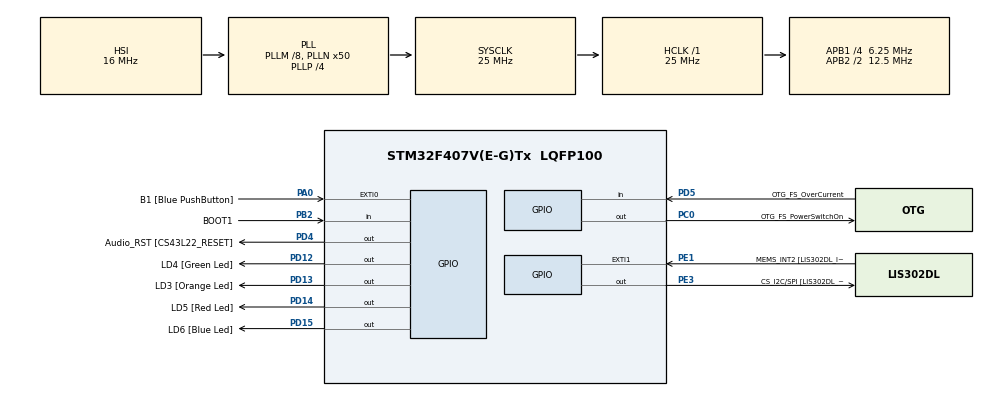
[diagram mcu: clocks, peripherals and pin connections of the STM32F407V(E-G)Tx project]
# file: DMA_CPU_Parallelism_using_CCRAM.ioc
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ADC1.Channel-0\#ChannelRegularConversion=ADC_CHANNEL_TEMPSENSOR
ADC1.NbrOfConversionFlag=1
ADC1.Rank-0\#ChannelRegularConversion=1
ADC1.SamplingTime-0\#ChannelRegularConversion=ADC_SAMPLETIME_3CYCLES
ADC1.master=1
Dma.ADC1.0.Direction=DMA_PERIPH_TO_MEMORY
Dma.ADC1.0.FIFOMode=DMA_FIFOMODE_DISABLE
Dma.ADC1.0.Instance=DMA2_Stream0
Dma.ADC1.0.MemDataAlignment=DMA_MDATAALIGN_HALFWORD
Dma.ADC1.0.MemInc=DMA_MINC_ENABLE
Dma.ADC1.0.Mode=DMA_CIRCULAR
Dma.ADC1.0.PeriphDataAlignment=DMA_PDATAALIGN_HALFWORD
Dma.ADC1.0.PeriphInc=DMA_PINC_DISABLE
Dma.ADC1.0.Priority=DMA_PRIORITY_LOW
Dma.Request0=ADC1
Mcu.Family=STM32F4
Mcu.Name=STM32F407V(E-G)Tx
Mcu.Package=LQFP100
NVIC.DMA2_Stream0_IRQn=true\:0\:0\:false\:false\:true\:false\:true\:true
NVIC.PriorityGroup=NVIC_PRIORITYGROUP_0
PA0-WKUP.GPIO_Label=B1 [Blue PushButton]
PA0-WKUP.Signal=GPXTI0
PA10.GPIO_Label=OTG_FS_ID
PA10.GPIO_Mode=GPIO_MODE_AF_PP
PA10.GPIO_PuPd=GPIO_NOPULL
PA10.GPIO_Speed=GPIO_SPEED_FREQ_LOW
PA10.Signal=USB_OTG_FS_ID
PA11.GPIO_Label=OTG_FS_DM
PA11.GPIO_Mode=GPIO_MODE_AF_PP
PA11.GPIO_PuPd=GPIO_NOPULL
PA11.GPIO_Speed=GPIO_SPEED_FREQ_LOW
PA11.Signal=USB_OTG_FS_DM
PA12.GPIO_Label=OTG_FS_DP
PA12.GPIO_Mode=GPIO_MODE_AF_PP
PA12.GPIO_PuPd=GPIO_NOPULL
PA12.GPIO_Speed=GPIO_SPEED_FREQ_LOW
PA12.Signal=USB_OTG_FS_DP
PA13.GPIO_Label=SWDIO
PA13.Signal=SYS_JTMS-SWDIO
PA14.GPIO_Label=SWCLK
PA14.Signal=SYS_JTCK-SWCLK
PA4.GPIO_Label=I2S3_WS [CS43L22_LRCK]
PA4.GPIO_Mode=GPIO_MODE_AF_PP
PA4.GPIO_PuPd=GPIO_NOPULL
PA4.GPIO_Speed=GPIO_SPEED_FREQ_LOW
PA4.Signal=I2S3_WS
PA5.GPIO_Label=SPI1_SCK [LIS302DL_SCL/SPC]
PA5.GPIO_Mode=GPIO_MODE_AF_PP
PA5.GPIO_PuPd=GPIO_NOPULL
PA5.GPIO_Speed=GPIO_SPEED_FREQ_LOW
PA5.Signal=SPI1_SCK
PA6.GPIO_Label=SPI1_MISO [LIS302DL_SDO]
PA6.GPIO_Mode=GPIO_MODE_AF_PP
PA6.GPIO_PuPd=GPIO_NOPULL
PA6.GPIO_Speed=GPIO_SPEED_FREQ_LOW
PA6.Signal=SPI1_MISO
PA7.GPIO_Label=SPI1_MOSI [LIS302DL_SDA/SDI/SDO]
PA7.GPIO_Mode=GPIO_MODE_AF_PP
PA7.GPIO_PuPd=GPIO_NOPULL
PA7.GPIO_Speed=GPIO_SPEED_FREQ_LOW
PA7.Signal=SPI1_MOSI
PA9.GPIO_Label=VBUS_FS
PA9.GPIO_Mode=GPIO_MODE_INPUT
PA9.GPIO_PuPd=GPIO_NOPULL
PA9.Signal=USB_OTG_FS_VBUS
PB10.GPIO_Label=CLK_IN [MP45DT02_CLK]
PB10.GPIO_Mode=GPIO_MODE_AF_PP
PB10.GPIO_PuPd=GPIO_NOPULL
PB10.GPIO_Speed=GPIO_SPEED_FREQ_LOW
PB10.Signal=I2S2_CK
PB2.GPIO_Label=BOOT1
PB2.GPIO_Mode=GPIO_MODE_INPUT
PB2.GPIO_PuPd=GPIO_NOPULL
PB2.Signal=GPIO_Input
PB3.GPIO_Label=SWO
PB3.Signal=SYS_JTDO-SWO
PB6.GPIO_Label=Audio_SCL [CS43L22_SCL]
PB6.GPIO_Mode=GPIO_MODE_AF_OD
PB6.GPIO_PuPd=GPIO_NOPULL
PB6.GPIO_Speed=GPIO_SPEED_FREQ_LOW
PB6.Signal=I2C1_SCL
PB9.GPIO_Label=Audio_SDA [CS43L22_SDA]
PB9.GPIO_Mode=GPIO_MODE_AF_OD
PB9.GPIO_PuPd=GPIO_NOPULL
PB9.GPIO_Speed=GPIO_SPEED_FREQ_LOW
PB9.Signal=I2C1_SDA
PC0.GPIO_Label=OTG_FS_PowerSwitchOn
PC0.GPIO_PuPd=GPIO_NOPULL
PC0.GPIO_Speed=GPIO_SPEED_FREQ_LOW
PC0.PinState=GPIO_PIN_SET
PC0.Signal=GPIO_Output
PC10.GPIO_Label=I2S3_SCK [CS43L22_SCLK]
PC10.GPIO_Mode=GPIO_MODE_AF_PP
PC10.GPIO_PuPd=GPIO_NOPULL
PC10.GPIO_Speed=GPIO_SPEED_FREQ_LOW
PC10.Signal=I2S3_CK
PC12.GPIO_Label=I2S3_SD [CS43L22_SDIN]
PC12.GPIO_Mode=GPIO_MODE_AF_PP
PC12.GPIO_PuPd=GPIO_NOPULL
PC12.GPIO_Speed=GPIO_SPEED_FREQ_LOW
PC12.Signal=I2S3_SD
PC14-OSC32_IN.GPIO_Label=PC14-OSC32_IN
PC14-OSC32_IN.Signal=RCC_OSC32_IN
PC15-OSC32_OUT.GPIO_Label=PC15-OSC32_OUT
PC15-OSC32_OUT.Signal=RCC_OSC32_OUT
PC3.GPIO_Label=PDM_OUT [MP45DT02_DOUT]
PC3.GPIO_Mode=GPIO_MODE_AF_PP
PC3.GPIO_PuPd=GPIO_NOPULL
PC3.GPIO_Speed=GPIO_SPEED_FREQ_LOW
PC3.Signal=I2S2_SD
PC7.GPIO_Label=I2S3_MCK [CS43L22_MCLK]
PC7.GPIO_Mode=GPIO_MODE_AF_PP
PC7.GPIO_PuPd=GPIO_NOPULL
PC7.GPIO_Speed=GPIO_SPEED_FREQ_LOW
PC7.Signal=I2S3_MCK
PD12.GPIO_Label=LD4 [Green Led]
PD12.GPIO_PuPd=GPIO_NOPULL
PD12.GPIO_Speed=GPIO_SPEED_FREQ_LOW
PD12.Signal=GPIO_Output
PD13.GPIO_Label=LD3 [Orange Led]
PD13.GPIO_PuPd=GPIO_NOPULL
PD13.GPIO_Speed=GPIO_SPEED_FREQ_LOW
PD13.Signal=GPIO_Output
PD14.GPIO_Label=LD5 [Red Led]
PD14.GPIO_PuPd=GPIO_NOPULL
PD14.GPIO_Speed=GPIO_SPEED_FREQ_LOW
PD14.Signal=GPIO_Output
PD15.GPIO_Label=LD6 [Blue Led]
PD15.GPIO_PuPd=GPIO_NOPULL
PD15.GPIO_Speed=GPIO_SPEED_FREQ_LOW
PD15.Signal=GPIO_Output
PD4.GPIO_Label=Audio_RST [CS43L22_RESET]
PD4.GPIO_PuPd=GPIO_NOPULL
PD4.GPIO_Speed=GPIO_SPEED_FREQ_LOW
PD4.Signal=GPIO_Output
PD5.GPIO_Label=OTG_FS_OverCurrent
PD5.GPIO_Mode=GPIO_MODE_INPUT
PD5.GPIO_PuPd=GPIO_NOPULL
PD5.Signal=GPIO_Input
PE1.GPIO_Label=MEMS_INT2 [LIS302DL_INT2]
PE1.GPIO_ModeDefaultEXTI=GPIO_MODE_EVT_RISING
PE1.GPIO_PuPd=GPIO_NOPULL
PE1.Signal=GPXTI1
PE3.GPIO_Label=CS_I2C/SPI [LIS302DL_CS_I2C/SPI]
PE3.GPIO_PuPd=GPIO_NOPULL
PE3.GPIO_Speed=GPIO_SPEED_FREQ_LOW
PE3.Signal=GPIO_Output
PH0-OSC_IN.GPIO_Label=PH0-OSC_IN
PH0-OSC_IN.Signal=RCC_OSC_IN
PH1-OSC_OUT.GPIO_Label=PH1-OSC_OUT
PH1-OSC_OUT.Signal=RCC_OSC_OUT
ProjectManager.HeapSize=0x200
ProjectManager.StackSize=0x400
ProjectManager.TargetToolchain=STM32CubeIDE
RCC.48MHZClocksFreq_Value=14285714.285714285
RCC.AHBFreq_Value=25000000
RCC.APB1CLKDivider=RCC_HCLK_DIV4
RCC.APB1Freq_Value=6250000
RCC.APB1TimFreq_Value=12500000
RCC.APB2CLKDivider=RCC_HCLK_DIV2
RCC.APB2Freq_Value=12500000
RCC.APB2TimFreq_Value=25000000
RCC.CortexFreq_Value=25000000
RCC.HCLKFreq_Value=25000000
RCC.HSE_VALUE=8000000
RCC.HSI_VALUE=16000000
RCC.LSE_VALUE=32768
RCC.PLLM=8
RCC.PLLN=50
RCC.PLLP=RCC_PLLP_DIV4
RCC.PLLQ=7
RCC.SYSCLKFreq_VALUE=25000000
RCC.SYSCLKSource=RCC_SYSCLKSOURCE_PLLCLK
RCC.VCOOutputFreq_Value=100000000
VP_ADC1_TempSens_Input.Mode=IN-TempSens
board=STM32F407G-DISC1

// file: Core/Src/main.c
/* USER CODE BEGIN Header */
/**
  ******************************************************************************
  * @file           : main.c
  * @brief          : Main program body
  ******************************************************************************
  * @attention
  *
  * Copyright (c) 2026 STMicroelectronics.
  * All rights reserved.
  *
  * This software is licensed under terms that can be found in the LICENSE file
  * in the root directory of this software component.
  * If no LICENSE file comes with this software, it is provided AS-IS.
  *
  ******************************************************************************
  */
/* USER CODE END Header */
#include "main.h"

/* USER CODE BEGIN Includes */
#include <stdio.h>
/* USER CODE END Includes */

/* USER CODE BEGIN PM */
#define ADC_BUFFER_SIZE 64
/* USER CODE END PM */

ADC_HandleTypeDef hadc1;
DMA_HandleTypeDef hdma_adc1;

/* USER CODE BEGIN PV */
__attribute__((section(".fast_data"))) uint32_t cpu_array[1024] = {0};
uint16_t adc_buffer[ADC_BUFFER_SIZE];
_Bool ConversionCompleted = 0;
/* USER CODE END PV */

void SystemClock_Config(void);
static void MX_GPIO_Init(void);
static void MX_DMA_Init(void);
static void MX_ADC1_Init(void);

/* USER CODE BEGIN 0 */
/* Initialize function for inbuilt Temperature sensor present at  */
void ADC_TempSensor_Init(){
	/* Select 1 Channel selection in Sequence Register */
	ADC1->SQR3 &= ~(ADC_SQR3_SQ1);
	ADC1->SQR3 |= (16<<0);

	/* only one channel is used */
	ADC1->SQR1 &= ~(ADC_SQR1_L);

	/* Sampling rate is 111 i.e. 480 cycles */
	ADC1->SMPR1 &= ~ADC_SMPR1_SMP16;
	ADC1->SMPR1 |= (ADC_SMPR1_SMP16_0 | ADC_SMPR1_SMP16_1 | ADC_SMPR1_SMP16_2);

	/* Enable Temperature sensor */
	ADC123_COMMON->CCR |= ADC_CCR_TSVREFE;

	/* Enable ADC */
	ADC1->CR2 |= ADC_CR2_ADON;

	// Continuous mode
	ADC1->CR2 |= ADC_CR2_CONT;

	// Start conversion
	ADC1->CR2 |= ADC_CR2_SWSTART;
}

/* Reset Before New conversion */
void reset_adc1_before_new_conversion(void){
	/* Reset STRT, Overrun and AnalogWatchdog bit 4th, 5th and 0th bit of SR register */
	ADC1->SR &= ~(ADC_SR_STRT | ADC_SR_OVR | ADC_SR_AWD);
}

/* Start DMA */
void DMA_start(void){
	HAL_ADC_Start_DMA(&hadc1, (uint32_t*)adc_buffer, ADC_BUFFER_SIZE);
}

void HAL_ADC_ConvCpltCallback(ADC_HandleTypeDef* hadc)
{
    if(hadc->Instance == ADC1)
    	ConversionCompleted = 1;
}
/* USER CODE END 0 */

int main(void)
{

  /* USER CODE BEGIN 1 */
  static uint8_t LoopNum = 0;
  /* USER CODE END 1 */

  /* MCU Configuration--------------------------------------------------------*/

  /* Reset of all peripherals, Initializes the Flash interface and the Systick. */
  HAL_Init();

  /* Configure the system clock */
  SystemClock_Config();

  /* Initialize all configured peripherals */
  MX_GPIO_Init();
  MX_DMA_Init();
  MX_ADC1_Init();

  /* Infinite loop */
  while (1)
  {

    /* USER CODE BEGIN 3 */
	for (int i = 0; i < 1024; i++) {
		cpu_array[i] = i + LoopNum;
	  	printf("%ld\t", cpu_array[i]);
	}
	LoopNum++;

	if(ConversionCompleted){
		for (int i = 0; i < 1024; i++) {
			printf("%d\t", adc_buffer[i]);
		}
	}
  }
  /* USER CODE END 3 */
}

void SystemClock_Config(void)
{
  RCC_OscInitTypeDef RCC_OscInitStruct = {0};
  RCC_ClkInitTypeDef RCC_ClkInitStruct = {0};

  /** Configure the main internal regulator output voltage
  */
  __HAL_RCC_PWR_CLK_ENABLE();
  __HAL_PWR_VOLTAGESCALING_CONFIG(PWR_REGULATOR_VOLTAGE_SCALE1);

  /** Initializes the RCC Oscillators according to the specified parameters
  * in the RCC_OscInitTypeDef structure.
  */
  RCC_OscInitStruct.OscillatorType = RCC_OSCILLATORTYPE_HSI;
  RCC_OscInitStruct.HSIState = RCC_HSI_ON;
  RCC_OscInitStruct.HSICalibrationValue = RCC_HSICALIBRATION_DEFAULT;
  RCC_OscInitStruct.PLL.PLLState = RCC_PLL_ON;
  RCC_OscInitStruct.PLL.PLLSource = RCC_PLLSOURCE_HSI;
  RCC_OscInitStruct.PLL.PLLM = 8;
  RCC_OscInitStruct.PLL.PLLN = 50;
  RCC_OscInitStruct.PLL.PLLP = RCC_PLLP_DIV4;
  RCC_OscInitStruct.PLL.PLLQ = 7;
  if (HAL_RCC_OscConfig(&RCC_OscInitStruct) != HAL_OK)
  {
    Error_Handler();
  }

  /** Initializes the CPU, AHB and APB buses clocks
  */
  RCC_ClkInitStruct.ClockType = RCC_CLOCKTYPE_HCLK|RCC_CLOCKTYPE_SYSCLK
                              |RCC_CLOCKTYPE_PCLK1|RCC_CLOCKTYPE_PCLK2;
  RCC_ClkInitStruct.SYSCLKSource = RCC_SYSCLKSOURCE_PLLCLK;
  RCC_ClkInitStruct.AHBCLKDivider = RCC_SYSCLK_DIV1;
  RCC_ClkInitStruct.APB1CLKDivider = RCC_HCLK_DIV4;
  RCC_ClkInitStruct.APB2CLKDivider = RCC_HCLK_DIV2;

  if (HAL_RCC_ClockConfig(&RCC_ClkInitStruct, FLASH_LATENCY_0) != HAL_OK)
  {
    Error_Handler();
  }
}

static void MX_ADC1_Init(void)
{

  ADC_ChannelConfTypeDef sConfig = {0};

  /** Configure the global features of the ADC (Clock, Resolution, Data Alignment and number of conversion)
  */
  hadc1.Instance = ADC1;
  hadc1.Init.ClockPrescaler = ADC_CLOCK_SYNC_PCLK_DIV2;
  hadc1.Init.Resolution = ADC_RESOLUTION_12B;
  hadc1.Init.ScanConvMode = DISABLE;
  hadc1.Init.ContinuousConvMode = DISABLE;
  hadc1.Init.DiscontinuousConvMode = DISABLE;
  hadc1.Init.ExternalTrigConvEdge = ADC_EXTERNALTRIGCONVEDGE_NONE;
  hadc1.Init.ExternalTrigConv = ADC_SOFTWARE_START;
  hadc1.Init.DataAlign = ADC_DATAALIGN_RIGHT;
  hadc1.Init.NbrOfConversion = 1;
  hadc1.Init.DMAContinuousRequests = DISABLE;
  hadc1.Init.EOCSelection = ADC_EOC_SINGLE_CONV;
  if (HAL_ADC_Init(&hadc1) != HAL_OK)
  {
    Error_Handler();
  }

  /** Configure for the selected ADC regular channel its corresponding rank in the sequencer and its sample time.
  */
  sConfig.Channel = ADC_CHANNEL_TEMPSENSOR;
  sConfig.Rank = 1;
  sConfig.SamplingTime = ADC_SAMPLETIME_3CYCLES;
  if (HAL_ADC_ConfigChannel(&hadc1, &sConfig) != HAL_OK)
  {
    Error_Handler();
  }

}

static void MX_DMA_Init(void)
{

  /* DMA controller clock enable */
  __HAL_RCC_DMA2_CLK_ENABLE();

  /* DMA interrupt init */
  /* DMA2_Stream0_IRQn interrupt configuration */
  HAL_NVIC_SetPriority(DMA2_Stream0_IRQn, 0, 0);
  HAL_NVIC_EnableIRQ(DMA2_Stream0_IRQn);

}

static void MX_GPIO_Init(void)
{
  GPIO_InitTypeDef GPIO_InitStruct = {0};

  /* GPIO Ports Clock Enable */
  __HAL_RCC_GPIOE_CLK_ENABLE();
  __HAL_RCC_GPIOC_CLK_ENABLE();
  __HAL_RCC_GPIOH_CLK_ENABLE();
  __HAL_RCC_GPIOA_CLK_ENABLE();
  __HAL_RCC_GPIOB_CLK_ENABLE();
  __HAL_RCC_GPIOD_CLK_ENABLE();

  /*Configure GPIO pin Output Level */
  HAL_GPIO_WritePin(CS_I2C_SPI_GPIO_Port, CS_I2C_SPI_Pin, GPIO_PIN_RESET);

  /*Configure GPIO pin Output Level */
  HAL_GPIO_WritePin(OTG_FS_PowerSwitchOn_GPIO_Port, OTG_FS_PowerSwitchOn_Pin, GPIO_PIN_SET);

  /*Configure GPIO pin Output Level */
  HAL_GPIO_WritePin(GPIOD, LD4_Pin|LD3_Pin|LD5_Pin|LD6_Pin
                          |Audio_RST_Pin, GPIO_PIN_RESET);

  /*Configure GPIO pin : CS_I2C_SPI_Pin */
  GPIO_InitStruct.Pin = CS_I2C_SPI_Pin;
  GPIO_InitStruct.Mode = GPIO_MODE_OUTPUT_PP;
  GPIO_InitStruct.Pull = GPIO_NOPULL;
  GPIO_InitStruct.Speed = GPIO_SPEED_FREQ_LOW;
  HAL_GPIO_Init(CS_I2C_SPI_GPIO_Port, &GPIO_InitStruct);

  /*Configure GPIO pin : OTG_FS_PowerSwitchOn_Pin */
  GPIO_InitStruct.Pin = OTG_FS_PowerSwitchOn_Pin;
  GPIO_InitStruct.Mode = GPIO_MODE_OUTPUT_PP;
  GPIO_InitStruct.Pull = GPIO_NOPULL;
  GPIO_InitStruct.Speed = GPIO_SPEED_FREQ_LOW;
  HAL_GPIO_Init(OTG_FS_PowerSwitchOn_GPIO_Port, &GPIO_InitStruct);

  /*Configure GPIO pin : PDM_OUT_Pin */
  GPIO_InitStruct.Pin = PDM_OUT_Pin;
  GPIO_InitStruct.Mode = GPIO_MODE_AF_PP;
  GPIO_InitStruct.Pull = GPIO_NOPULL;
  GPIO_InitStruct.Speed = GPIO_SPEED_FREQ_LOW;
  GPIO_InitStruct.Alternate = GPIO_AF5_SPI2;
  HAL_GPIO_Init(PDM_OUT_GPIO_Port, &GPIO_InitStruct);

  /*Configure GPIO pin : B1_Pin */
  GPIO_InitStruct.Pin = B1_Pin;
  GPIO_InitStruct.Mode = GPIO_MODE_IT_RISING;
  GPIO_InitStruct.Pull = GPIO_NOPULL;
  HAL_GPIO_Init(B1_GPIO_Port, &GPIO_InitStruct);

  /*Configure GPIO pin : I2S3_WS_Pin */
  GPIO_InitStruct.Pin = I2S3_WS_Pin;
  GPIO_InitStruct.Mode = GPIO_MODE_AF_PP;
  GPIO_InitStruct.Pull = GPIO_NOPULL;
  GPIO_InitStruct.Speed = GPIO_SPEED_FREQ_LOW;
  GPIO_InitStruct.Alternate = GPIO_AF6_SPI3;
  HAL_GPIO_Init(I2S3_WS_GPIO_Port, &GPIO_InitStruct);

  /*Configure GPIO pins : SPI1_SCK_Pin SPI1_MISO_Pin SPI1_MOSI_Pin */
  GPIO_InitStruct.Pin = SPI1_SCK_Pin|SPI1_MISO_Pin|SPI1_MOSI_Pin;
  GPIO_InitStruct.Mode = GPIO_MODE_AF_PP;
  GPIO_InitStruct.Pull = GPIO_NOPULL;
  GPIO_InitStruct.Speed = GPIO_SPEED_FREQ_LOW;
  GPIO_InitStruct.Alternate = GPIO_AF5_SPI1;
  HAL_GPIO_Init(GPIOA, &GPIO_InitStruct);

  /*Configure GPIO pin : BOOT1_Pin */
  GPIO_InitStruct.Pin = BOOT1_Pin;
  GPIO_InitStruct.Mode = GPIO_MODE_INPUT;
  GPIO_InitStruct.Pull = GPIO_NOPULL;
  HAL_GPIO_Init(BOOT1_GPIO_Port, &GPIO_InitStruct);

  /*Configure GPIO pin : CLK_IN_Pin */
  GPIO_InitStruct.Pin = CLK_IN_Pin;
  GPIO_InitStruct.Mode = GPIO_MODE_AF_PP;
  GPIO_InitStruct.Pull = GPIO_NOPULL;
  GPIO_InitStruct.Speed = GPIO_SPEED_FREQ_LOW;
  GPIO_InitStruct.Alternate = GPIO_AF5_SPI2;
  HAL_GPIO_Init(CLK_IN_GPIO_Port, &GPIO_InitStruct);

  /*Configure GPIO pins : LD4_Pin LD3_Pin LD5_Pin LD6_Pin
                           Audio_RST_Pin */
  GPIO_InitStruct.Pin = LD4_Pin|LD3_Pin|LD5_Pin|LD6_Pin
                          |Audio_RST_Pin;
  GPIO_InitStruct.Mode = GPIO_MODE_OUTPUT_PP;
  GPIO_InitStruct.Pull = GPIO_NOPULL;
  GPIO_InitStruct.Speed = GPIO_SPEED_FREQ_LOW;
  HAL_GPIO_Init(GPIOD, &GPIO_InitStruct);

  /*Configure GPIO pins : I2S3_MCK_Pin I2S3_SCK_Pin I2S3_SD_Pin */
  GPIO_InitStruct.Pin = I2S3_MCK_Pin|I2S3_SCK_Pin|I2S3_SD_Pin;
  GPIO_InitStruct.Mode = GPIO_MODE_AF_PP;
  GPIO_InitStruct.Pull = GPIO_NOPULL;
  GPIO_InitStruct.Speed = GPIO_SPEED_FREQ_LOW;
  GPIO_InitStruct.Alternate = GPIO_AF6_SPI3;
  HAL_GPIO_Init(GPIOC, &GPIO_InitStruct);

  /*Configure GPIO pin : VBUS_FS_Pin */
  GPIO_InitStruct.Pin = VBUS_FS_Pin;
  GPIO_InitStruct.Mode = GPIO_MODE_INPUT;
  GPIO_InitStruct.Pull = GPIO_NOPULL;
  HAL_GPIO_Init(VBUS_FS_GPIO_Port, &GPIO_InitStruct);

  /*Configure GPIO pins : OTG_FS_ID_Pin OTG_FS_DM_Pin OTG_FS_DP_Pin */
  GPIO_InitStruct.Pin = OTG_FS_ID_Pin|OTG_FS_DM_Pin|OTG_FS_DP_Pin;
  GPIO_InitStruct.Mode = GPIO_MODE_AF_PP;
  GPIO_InitStruct.Pull = GPIO_NOPULL;
  GPIO_InitStruct.Speed = GPIO_SPEED_FREQ_LOW;
  GPIO_InitStruct.Alternate = GPIO_AF10_OTG_FS;
  HAL_GPIO_Init(GPIOA, &GPIO_InitStruct);

  /*Configure GPIO pin : OTG_FS_OverCurrent_Pin */
  GPIO_InitStruct.Pin = OTG_FS_OverCurrent_Pin;
  GPIO_InitStruct.Mode = GPIO_MODE_INPUT;
  GPIO_InitStruct.Pull = GPIO_NOPULL;
  HAL_GPIO_Init(OTG_FS_OverCurrent_GPIO_Port, &GPIO_InitStruct);

  /*Configure GPIO pins : Audio_SCL_Pin Audio_SDA_Pin */
  GPIO_InitStruct.Pin = Audio_SCL_Pin|Audio_SDA_Pin;
  GPIO_InitStruct.Mode = GPIO_MODE_AF_OD;
  GPIO_InitStruct.Pull = GPIO_NOPULL;
  GPIO_InitStruct.Speed = GPIO_SPEED_FREQ_LOW;
  GPIO_InitStruct.Alternate = GPIO_AF4_I2C1;
  HAL_GPIO_Init(GPIOB, &GPIO_InitStruct);

  /*Configure GPIO pin : MEMS_INT2_Pin */
  GPIO_InitStruct.Pin = MEMS_INT2_Pin;
  GPIO_InitStruct.Mode = GPIO_MODE_EVT_RISING;
  GPIO_InitStruct.Pull = GPIO_NOPULL;
  HAL_GPIO_Init(MEMS_INT2_GPIO_Port, &GPIO_InitStruct);

}

void Error_Handler(void)
{
  __disable_irq();
  while (1)
  {
  }
}
